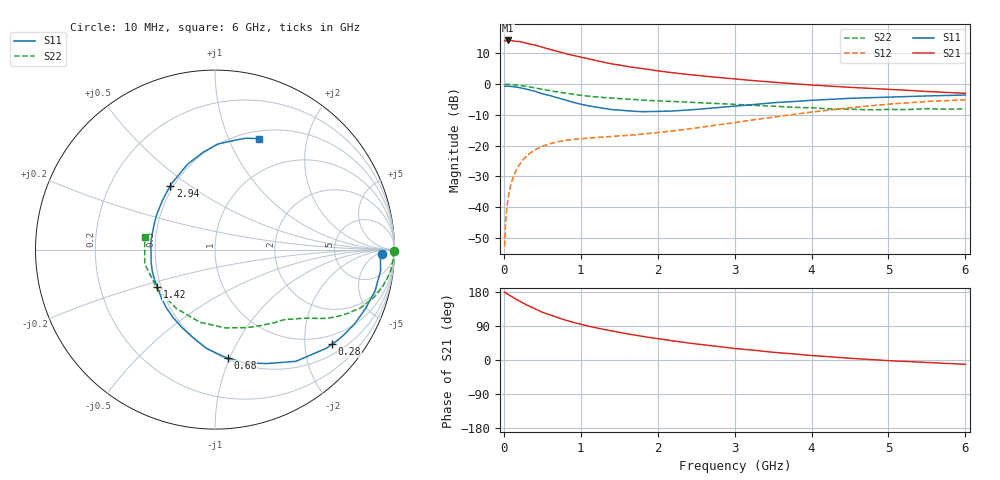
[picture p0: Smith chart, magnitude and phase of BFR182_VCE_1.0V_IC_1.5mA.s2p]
! Infineon Technologies  Discrete & RF Semiconductors
! BFR182
! VCE =  1.0 V,  IC =  1.5 mA
! Common Emitter S-Parameters:  Nov 2015
# GHz  S  MA  R  50
!  f  S11  S21  S12  S22
! GHz  MAG  ANG  MAG  ANG  MAG  ANG  MAG  ANG
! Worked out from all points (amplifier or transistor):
!   210 points, 10 MHz to 6 GHz, reference 50 ohm
!   highest |S21| = 14.2 dB at 50 MHz (marker M1)
!   |S21| within 3 dB of that: start of sweep to 612.1 MHz
!   unconditionally stable (mu >= 1): 1.556 GHz to 3.354 GHz
!   at 185 MHz: K = 0.16, MSG = 20.4 dB, |S12| = -27.0 dB
!   at 1.52 GHz: K = 0.98, MSG = 11.5 dB, |S12| = -16.8 dB
!   at 6 GHz: K = 0.95, MSG = 1.0 dB, |S12| = -5.1 dB
!   S11 on the Smith chart (normalised r, x): 10 MHz: 25, -9; 280 MHz: 0.74, -2.65; 680 MHz: 0.51, -0.98; 1.42 GHz: 0.48, -0.23; 2.94 GHz: 0.48, +0.42; 6 GHz: 0.59, +1.30
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0.01  0.9315 -1.4  5.115 179.1  0.0023 93.7  0.9974 -0.6
0.02  0.9228 -3.1  5.011 177.5  0.0048 88.8  0.9897 -1.3
0.025  0.9237 -3.8  5.032 176.9  0.0061 88.1  0.9903 -1.6
0.05  0.9302 -7.2  5.146 174.1  0.0124 86.6  0.9938 -3.2
0.1  0.9214 -14.3  5.121 168.2  0.0253 81.0  0.9875 -6.4
0.19  0.8838 -26.7  4.954 157.0  0.0461 74.1  0.9603 -11.7
0.28  0.8389 -38.9  4.673 147.2  0.0644 67.3  0.9251 -16.6
0.4  0.7685 -54.1  4.35 135.6  0.0846 60.1  0.8726 -21.9
0.5  0.6988 -65.3  4 126.0  0.097 55.1  0.8231 -25.5
0.68  0.6071 -83.3  3.456 113.3  0.1136 48.3  0.7535 -30.1
0.82  0.5428 -96.5  3.101 104.1  0.1224 44.7  0.7082 -32.8
1.02  0.4658 -114.6  2.719 93.1  0.1297 42.1  0.6534 -35.8
1.2  0.4227 -129.9  2.421 84.8  0.1351 40.7  0.6197 -38.2
1.42  0.3838 -146.8  2.124 76.1  0.1412 40.6  0.5909 -40.9
1.7  0.3623 -169.4  1.871 65.7  0.1493 43.0  0.5585 -44.0
2.02  0.3599 169.6  1.636 55.7  0.164 45.7  0.5341 -48.3
2.42  0.3812 147.3  1.429 44.3  0.1876 49.2  0.5062 -55.2
2.94  0.4327 125.2  1.234 31.9  0.2308 51.0  0.4731 -66.2
3.1  0.4494 119.8  1.185 28.6  0.2468 50.7  0.4613 -70.5
4.1  0.5533 95.3  0.951 10.5  0.3627 44.4  0.4047 -105.8
5.1  0.6202 79.5  0.814 -2.6  0.4813 31.2  0.3861 -150.7
6  0.6649 68.4  0.709 -11.4  0.557 16.7  0.3975 169.8
